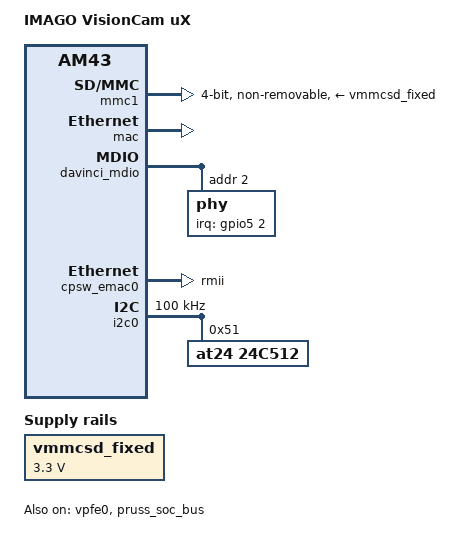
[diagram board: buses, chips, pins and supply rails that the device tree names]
/*
 * Copyright (C) 2013 Texas Instruments Incorporated - http://www.ti.com/
 *
 * This program is free software; you can redistribute it and/or modify
 * it under the terms of the GNU General Public License version 2 as
 * published by the Free Software Foundation.
 */

/* AM43x EPOS EVM */

/dts-v1/;

#include "am4372.dtsi"
#include <dt-bindings/pinctrl/am43xx.h>
#include <dt-bindings/gpio/gpio.h>
#include <dt-bindings/pwm/pwm.h>
#include <dt-bindings/sound/tlv320aic31xx-micbias.h>

/ {
	model = "IMAGO VisionCam uX";
	compatible = "ti,am43x-visioncam-ux","ti,am438x","ti,am43";

	chosen {
		stdout-path = &uart0;
	};

	vmmcsd_fixed: fixedregulator-sd {
		compatible = "regulator-fixed";
		regulator-name = "vmmcsd_fixed";
		regulator-min-microvolt = <3300000>;
		regulator-max-microvolt = <3300000>;
		enable-active-high;
	};
};

&am43xx_pinmux {
	cpsw_default: cpsw_default {
		pinctrl-single,pins = <
			/* Slave 1 */
			AM4372_IOPAD(0x90c, PIN_INPUT_PULLDOWN | MUX_MODE1)	/* mii1_crs.rmii1_crs */
			AM4372_IOPAD(0x910, PIN_INPUT_PULLDOWN | MUX_MODE1)	/* mii1_rxerr.rmii1_rxerr */
			AM4372_IOPAD(0x914, PIN_OUTPUT_PULLDOWN | MUX_MODE1)	/* mii1_txen.rmii1_txen */
			AM4372_IOPAD(0x924, PIN_OUTPUT_PULLDOWN | MUX_MODE1)	/* mii1_txd1.rmii1_txd1 */
			AM4372_IOPAD(0x928, PIN_OUTPUT_PULLDOWN | MUX_MODE1)	/* mii1_txd0.rmii1_txd0 */
			AM4372_IOPAD(0x93c, PIN_INPUT_PULLDOWN | MUX_MODE1)	/* mii1_rxd1.rmii1_rxd1 */
			AM4372_IOPAD(0x940, PIN_INPUT_PULLDOWN | MUX_MODE1)	/* mii1_rxd0.rmii1_rxd0 */
			AM4372_IOPAD(0x944, PIN_INPUT_PULLDOWN | MUX_MODE0)	/* rmii1_refclk.rmii1_refclk */
		>;
	};

	cpsw_sleep: cpsw_sleep {
		pinctrl-single,pins = <
			/* Slave 1 reset value */
			AM4372_IOPAD(0x90c, PIN_INPUT_PULLDOWN | MUX_MODE7)
			AM4372_IOPAD(0x910, PIN_INPUT_PULLDOWN | MUX_MODE7)
			AM4372_IOPAD(0x914, PIN_INPUT_PULLDOWN | MUX_MODE7)
			AM4372_IOPAD(0x924, PIN_INPUT_PULLDOWN | MUX_MODE7)
			AM4372_IOPAD(0x928, PIN_INPUT_PULLDOWN | MUX_MODE7)
			AM4372_IOPAD(0x93c, PIN_INPUT_PULLDOWN | MUX_MODE7)
			AM4372_IOPAD(0x940, PIN_INPUT_PULLDOWN | MUX_MODE7)
			AM4372_IOPAD(0x944, PIN_INPUT_PULLDOWN | MUX_MODE7)
		>;
	};

	davinci_mdio_default: davinci_mdio_default {
		pinctrl-single,pins = <
			/* MDIO */
			AM4372_IOPAD(0x948, PIN_INPUT_PULLUP | SLEWCTRL_FAST | MUX_MODE0)	/* mdio_data.mdio_data */
			AM4372_IOPAD(0x94c, PIN_OUTPUT_PULLUP | MUX_MODE0)					/* mdio_clk.mdio_clk */
			AM4372_IOPAD(0xA28, PIN_INPUT | MUX_MODE7)							/* uart3_rxd.gpio5_2 => PHY interrupt */
		>;
	};

	davinci_mdio_sleep: davinci_mdio_sleep {
		pinctrl-single,pins = <
			/* MDIO reset value */
			AM4372_IOPAD(0x948, PIN_INPUT_PULLDOWN | MUX_MODE7)
			AM4372_IOPAD(0x94c, PIN_INPUT_PULLDOWN | MUX_MODE7)
			AM4372_IOPAD(0xA28, PIN_INPUT | MUX_MODE7)
		>;
	};

	i2c0_pins: i2c0_pins {
		pinctrl-single,pins = <
			AM4372_IOPAD(0x988, PIN_INPUT_PULLUP | SLEWCTRL_FAST | MUX_MODE0)	/* i2c0_sda.i2c0_sda */
			AM4372_IOPAD(0x98c, PIN_INPUT_PULLUP | SLEWCTRL_FAST | MUX_MODE0)	/* i2c0_scl.i2c0_scl */
		>;
	};

	vpfe0_pins_default: vpfe0_pins_default {
		pinctrl-single,pins = <
			AM4372_IOPAD(0x9b0, PIN_INPUT_PULLUP | MUX_MODE0)  /* cam0_hd mode 0*/
			AM4372_IOPAD(0x9b4, PIN_INPUT_PULLUP | MUX_MODE0)  /* cam0_vd mode 0*/
			AM4372_IOPAD(0x9c0, PIN_INPUT_PULLUP | MUX_MODE0)  /* cam0_pclk mode 0*/
			AM4372_IOPAD(0x9c4, PIN_INPUT_PULLUP | MUX_MODE0)  /* cam0_data8 mode 0*/
			AM4372_IOPAD(0x9c8, PIN_INPUT_PULLUP | MUX_MODE0)  /* cam0_data9 mode 0*/
			AM4372_IOPAD(0xa08, PIN_INPUT_PULLUP | MUX_MODE0)  /* cam0_data0 mode 0*/
			AM4372_IOPAD(0xa0c, PIN_INPUT_PULLUP | MUX_MODE0)  /* cam0_data1 mode 0*/
			AM4372_IOPAD(0xa10, PIN_INPUT_PULLUP | MUX_MODE0)  /* cam0_data2 mode 0*/
			AM4372_IOPAD(0xa14, PIN_INPUT_PULLUP | MUX_MODE0)  /* cam0_data3 mode 0*/
			AM4372_IOPAD(0xa18, PIN_INPUT_PULLUP | MUX_MODE0)  /* cam0_data4 mode 0*/
			AM4372_IOPAD(0xa1c, PIN_INPUT_PULLUP | MUX_MODE0)  /* cam0_data5 mode 0*/
			AM4372_IOPAD(0xa20, PIN_INPUT_PULLUP | MUX_MODE0)  /* cam0_data6 mode 0*/
			AM4372_IOPAD(0xa24, PIN_INPUT_PULLUP | MUX_MODE0)  /* cam0_data7 mode 0*/
			AM4372_IOPAD(0xa70, PIN_OUTPUT_PULLDOWN | MUX_MODE3)  /* xdma_event_intr0.clkout1 => SENSOR.CLK_IN */
		>;
	};

	vpfe0_pins_sleep: vpfe0_pins_sleep {
		pinctrl-single,pins = <
			AM4372_IOPAD(0x9b0, DS0_PULL_UP_DOWN_EN | INPUT_EN | MUX_MODE7)  /* cam0_hd mode 0*/
			AM4372_IOPAD(0x9b4, DS0_PULL_UP_DOWN_EN | INPUT_EN | MUX_MODE7)  /* cam0_vd mode 0*/
			AM4372_IOPAD(0x9c0, DS0_PULL_UP_DOWN_EN | INPUT_EN | MUX_MODE7)  /* cam0_pclk mode 0*/
			AM4372_IOPAD(0x9c4, DS0_PULL_UP_DOWN_EN | INPUT_EN | MUX_MODE7)  /* cam0_data8 mode 0*/
			AM4372_IOPAD(0x9c8, DS0_PULL_UP_DOWN_EN | INPUT_EN | MUX_MODE7)  /* cam0_data9 mode 0*/
			AM4372_IOPAD(0xa08, DS0_PULL_UP_DOWN_EN | INPUT_EN | MUX_MODE7)  /* cam0_data0 mode 0*/
			AM4372_IOPAD(0xa0c, DS0_PULL_UP_DOWN_EN | INPUT_EN | MUX_MODE7)  /* cam0_data1 mode 0*/
			AM4372_IOPAD(0xa10, DS0_PULL_UP_DOWN_EN | INPUT_EN | MUX_MODE7)  /* cam0_data2 mode 0*/
			AM4372_IOPAD(0xa14, DS0_PULL_UP_DOWN_EN | INPUT_EN | MUX_MODE7)  /* cam0_data3 mode 0*/
			AM4372_IOPAD(0xa18, DS0_PULL_UP_DOWN_EN | INPUT_EN | MUX_MODE7)  /* cam0_data4 mode 0*/
			AM4372_IOPAD(0xa1c, DS0_PULL_UP_DOWN_EN | INPUT_EN | MUX_MODE7)  /* cam0_data5 mode 0*/
			AM4372_IOPAD(0xa20, DS0_PULL_UP_DOWN_EN | INPUT_EN | MUX_MODE7)  /* cam0_data6 mode 0*/
			AM4372_IOPAD(0xa24, DS0_PULL_UP_DOWN_EN | INPUT_EN | MUX_MODE7)  /* cam0_data7 mode 0*/
		>;
	};

	gpio2_pins: gpio2_pins {
		pinctrl-single,pins = <
			AM4372_IOPAD(0x8e4, PIN_OUTPUT | MUX_MODE7) /* dss_hsync.gpio2_23 => FREERUN */
		>;
	};

	gpio4_pins: gpio4_pins {
		pinctrl-single,pins = <
			AM4372_IOPAD(0x9d4, PIN_OUTPUT | MUX_MODE7) /* cam1_hd.gpio4_9 => SENSOR.RST */
			AM4372_IOPAD(0xa00, PIN_OUTPUT | MUX_MODE7) /* cam1_data6.gpio4_20 => OUT0 */
			AM4372_IOPAD(0x9f0, PIN_OUTPUT | MUX_MODE7) /* cam1_data2.gpio4_16 => OUT1 */
			AM4372_IOPAD(0x9dc, PIN_OUTPUT | MUX_MODE7) /* cam1_pclk.gpio4_11 => OUT2 */
/*			AM4372_IOPAD(0xa04, PIN_INPUT | MUX_MODE7)*/ /* cam1_data7.gpio4_21 => IN0 */
			AM4372_IOPAD(0x9f4, PIN_INPUT | MUX_MODE7) /* cam1_data3.gpio4_17 => IN1 */
			AM4372_IOPAD(0x9d0, PIN_INPUT | MUX_MODE7) /* cam1_data8.gpio4_8 => IN2 */
		>;
	};

	pru_pins: pru_pins {
		pinctrl-single,pins = <
			AM4372_IOPAD(0x9d8, PIN_INPUT_PULLUP | MUX_MODE5)	/* cam1_vd.pr0_pru1_gpi2 => SWITCH */
			AM4372_IOPAD(0x9fc, PIN_INPUT_PULLUP | MUX_MODE5)	/* cam1_data5.pr0_pru1_gpi13 => SENSOR.LED */
			AM4372_IOPAD(0xa04, PIN_INPUT | MUX_MODE5)	/* cam1_data7.pr0_pru1_gpi15 => IN0 */
			AM4372_IOPAD(0x8e8, PIN_INPUT | MUX_MODE6)	/* dss_pclk.pr0_pru1_gpi8 => FREERUN */
			AM4372_IOPAD(0x9f8, PIN_OUTPUT | MUX_MODE4)	/* cam1_data4.pr0_pru1_gpo12 => SENSOR.EXP */
			AM4372_IOPAD(0x9cc, PIN_OUTPUT | MUX_MODE3)	/* cam1_data9.pr0_pru0_gpo17 => STROBE */
		>;
	};
};

&mmc1 {
	status = "okay";
	vmmc-supply = <&vmmcsd_fixed>;
	bus-width = <4>;
	non-removable;
	disable-wp;
};

&mac {
	slaves = <1>;
	pinctrl-names = "default", "sleep";
	pinctrl-0 = <&cpsw_default>;
	pinctrl-1 = <&cpsw_sleep>;
	status = "okay";
};

&davinci_mdio {
	pinctrl-names = "default", "sleep";
	pinctrl-0 = <&davinci_mdio_default>;
	pinctrl-1 = <&davinci_mdio_sleep>;
	status = "okay";
	phy: phy@2 {
		reg = <2>;
		interrupt-parent = <&gpio5>;
		interrupts = <2 IRQ_TYPE_EDGE_FALLING>;
	};
};

&cpsw_emac0 {
	phy_id = <&davinci_mdio>, <2>;
	phy-mode = "rmii";
};

&phy_sel {
	rmii-clock-ext;	/* RMII clock is provided by external PHY */ 
};

&i2c0 {
	status = "okay";
	pinctrl-names = "default";
	pinctrl-0 = <&i2c0_pins>;
	clock-frequency = <100000>;

/*	tps65218: tps65218@24 {
		reg = <0x24>;
		compatible = "ti,tps65218";
		interrupts = <GIC_SPI 7 IRQ_TYPE_NONE>;
		interrupt-controller;
		#interrupt-cells = <2>;

		dcdc1: regulator-dcdc1 {
			regulator-name = "vdd_core";
			regulator-min-microvolt = <912000>;
			regulator-max-microvolt = <1144000>;
			regulator-boot-on;
			regulator-always-on;
		};

		dcdc2: regulator-dcdc2 {
			regulator-name = "vdd_mpu";
			regulator-min-microvolt = <912000>;
			regulator-max-microvolt = <1378000>;
			regulator-boot-on;
			regulator-always-on;
		};

		dcdc3: regulator-dcdc3 {
			regulator-name = "vdcdc3";
			regulator-boot-on;
			regulator-always-on;
		};

		dcdc4: regulator-dcdc4 {
			regulator-name = "vdcdc4";
			regulator-min-microvolt = <3300000>;
			regulator-max-microvolt = <3300000>;
			regulator-boot-on;
			regulator-always-on;
		};

		ldo1: regulator-ldo1 {
			regulator-min-microvolt = <1800000>;
			regulator-max-microvolt = <1800000>;
			regulator-boot-on;
			regulator-always-on;
		};
	};*/

	at24@51 {
		compatible = "at24,24c512";
		pagesize = <64>;
		reg = <0x51>;
	};

/*	mt9v032@48 {
		compatible = "aptina,mt9v032";
		reg = <0x5c>;

		port {
			mt9v032: endpoint {
				remote-endpoint = <&vpfe0_ep>;
				link-frequencies = /bits/ 64 <26000000>;
			};
		};
	};*/
};

&gpio2 {
	status = "okay";
	pinctrl-names = "default";
	pinctrl-0 = <&gpio2_pins>;
};

&gpio4 {
	status = "okay";
	pinctrl-names = "default";
	pinctrl-0 = <&gpio4_pins>;
};

&vpfe0 {
	compatible = "IMAGO,vcdrv-vpfe";
	status = "okay";
	pinctrl-names = "default", "sleep";
	pinctrl-0 = <&vpfe0_pins_default>;
	pinctrl-1 = <&vpfe0_pins_sleep>;
};

/*&vpfe0 {
	status = "okay";
	pinctrl-names = "default", "sleep";
	pinctrl-0 = <&vpfe0_pins_default>;
	pinctrl-1 = <&vpfe0_pins_sleep>;

	port {
		vpfe0_ep: endpoint {
			remote-endpoint = <&mt9v032>;
			ti,am437x-vpfe-interface = <0>;
			bus-width = <8>;
			hsync-active = <0>;
			vsync-active = <0>;
		};
	};
};*/



&synctimer_32kclk {
	assigned-clocks = <&mux_synctimer32k_ck>;
	assigned-clock-parents = <&clkdiv32k_ick>;
};

/*&wkup_m3_ipc {
	ti,scale-data-fw = "am43x-evm-scale-data.bin";
};*/

/*&cpu {
	cpu0-supply = <&dcdc2>;
};*/

&pruss_soc_bus {
	status = "okay";
	pinctrl-names = "default";
	pinctrl-0 = <&pru_pins>;

	pruss1: pruss@54400000 {
		status = "okay";

		pru1_0: pru@54434000 {
			status = "okay";
		};

		pru1_1: pru@54438000 {
			status = "okay";
		};
	};

	pruss0: pruss@54440000 {
		status = "okay";

		pru0_0: pru@54474000 {
			status = "okay";
		};

		pru0_1: pru@54478000 {
			status = "okay";
		};
	};
};
